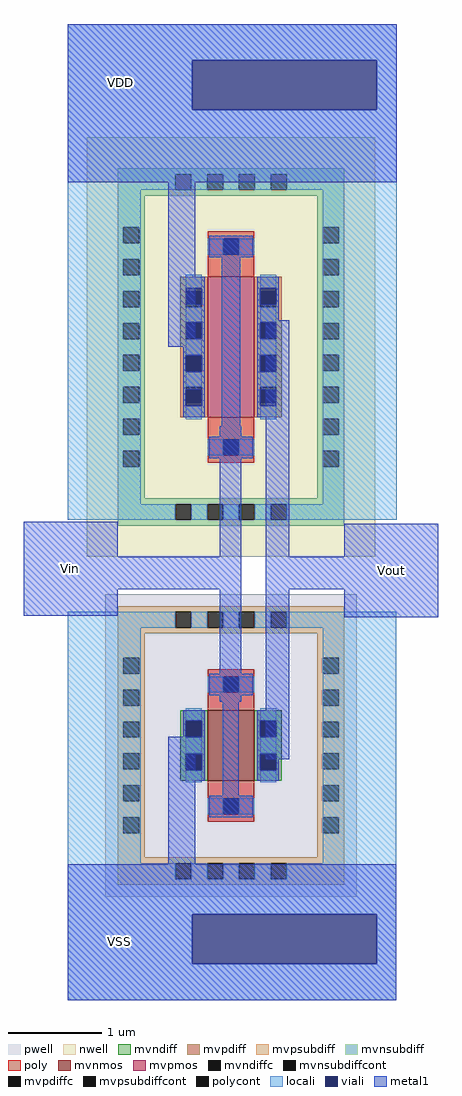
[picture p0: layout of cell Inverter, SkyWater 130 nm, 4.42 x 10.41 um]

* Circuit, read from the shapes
.subckt Inverter VDD Vin Vout VSS
XM1 Vout Vin VSS VSS sky130_fd_pr__nfet_g5v0d10v5 w=0.75 l=0.5
XM2 Vout Vin VDD VDD sky130_fd_pr__pfet_g5v0d10v5 w=1.5 l=0.5
.ends

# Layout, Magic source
magic
tech sky130B
magscale 1 2
<< locali >>
rect 990 1561 1692 1638
rect 990 1455 1255 1561
rect 1649 1455 1692 1561
rect 990 1286 1692 1455
rect 990 584 1146 1286
rect 1534 584 1692 1286
rect 990 580 1112 584
rect 1568 580 1692 584
rect 990 382 1108 384
rect 1568 382 1690 384
rect 990 -186 1146 382
rect 1534 -186 1690 382
rect 990 -261 1690 -186
rect 990 -367 1255 -261
rect 1649 -367 1690 -261
rect 990 -444 1690 -367
<< viali >>
rect 1255 1455 1649 1561
rect 1255 -367 1649 -261
<< metal1 >>
rect 990 1561 1692 1638
rect 990 1455 1255 1561
rect 1649 1455 1692 1561
rect 990 1300 1692 1455
rect 1204 950 1262 1300
rect 1318 780 1358 1178
rect 1438 1004 1462 1006
rect 896 502 1096 576
rect 1314 502 1360 780
rect 896 432 1360 502
rect 896 376 1096 432
rect 1314 192 1360 432
rect 1412 502 1462 1004
rect 1580 502 1780 572
rect 1412 432 1780 502
rect 1204 -154 1262 118
rect 1320 -48 1354 192
rect 1412 70 1462 432
rect 1580 372 1780 432
rect 990 -261 1690 -154
rect 990 -367 1255 -261
rect 1649 -367 1690 -261
rect 990 -444 1690 -367
use sky130_fd_pr__nfet_g5v0d10v5_6XHARQ  XM1
transform 1 0 1338 0 1 99
box -268 -323 268 323
use sky130_fd_pr__pfet_g5v0d10v5_7EBZY6  XM2
transform 1 0 1338 0 1 949
box -308 -447 308 447
<< labels >>
flabel metal1 s 1002 1414 1202 1614 0 FreeSans 320 0 0 0 VDD
port 1 nsew
flabel metal1 s 896 376 1096 576 0 FreeSans 320 0 0 0 Vin
port 2 nsew
flabel metal1 s 1580 372 1780 572 0 FreeSans 320 0 0 0 Vout
port 3 nsew
flabel metal1 s 1000 -420 1200 -220 0 FreeSans 320 0 0 0 VSS
port 4 nsew
<< end >>

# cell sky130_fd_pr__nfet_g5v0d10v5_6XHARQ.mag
magic
tech sky130B
magscale 1 2
<< pwell >>
rect -268 -323 268 323
<< mvnmos >>
rect -50 -75 50 75
<< mvndiff >>
rect -108 51 -50 75
rect -108 17 -96 51
rect -62 17 -50 51
rect -108 -17 -50 17
rect -108 -51 -96 -17
rect -62 -51 -50 -17
rect -108 -75 -50 -51
rect 50 51 108 75
rect 50 17 62 51
rect 96 17 108 51
rect 50 -17 108 17
rect 50 -51 62 -17
rect 96 -51 108 -17
rect 50 -75 108 -51
<< mvndiffc >>
rect -96 17 -62 51
rect -96 -51 -62 -17
rect 62 17 96 51
rect 62 -51 96 -17
<< mvpsubdiff >>
rect -242 285 242 297
rect -242 251 -119 285
rect -85 251 -51 285
rect -17 251 17 285
rect 51 251 85 285
rect 119 251 242 285
rect -242 239 242 251
rect -242 187 -184 239
rect -242 153 -230 187
rect -196 153 -184 187
rect 184 187 242 239
rect -242 119 -184 153
rect -242 85 -230 119
rect -196 85 -184 119
rect -242 51 -184 85
rect 184 153 196 187
rect 230 153 242 187
rect 184 119 242 153
rect 184 85 196 119
rect 230 85 242 119
rect -242 17 -230 51
rect -196 17 -184 51
rect -242 -17 -184 17
rect -242 -51 -230 -17
rect -196 -51 -184 -17
rect -242 -85 -184 -51
rect 184 51 242 85
rect 184 17 196 51
rect 230 17 242 51
rect 184 -17 242 17
rect 184 -51 196 -17
rect 230 -51 242 -17
rect -242 -119 -230 -85
rect -196 -119 -184 -85
rect -242 -153 -184 -119
rect -242 -187 -230 -153
rect -196 -187 -184 -153
rect 184 -85 242 -51
rect 184 -119 196 -85
rect 230 -119 242 -85
rect 184 -153 242 -119
rect -242 -239 -184 -187
rect 184 -187 196 -153
rect 230 -187 242 -153
rect 184 -239 242 -187
rect -242 -251 242 -239
rect -242 -285 -119 -251
rect -85 -285 -51 -251
rect -17 -285 17 -251
rect 51 -285 85 -251
rect 119 -285 242 -251
rect -242 -297 242 -285
<< mvpsubdiffcont >>
rect -119 251 -85 285
rect -51 251 -17 285
rect 17 251 51 285
rect 85 251 119 285
rect -230 153 -196 187
rect -230 85 -196 119
rect 196 153 230 187
rect 196 85 230 119
rect -230 17 -196 51
rect -230 -51 -196 -17
rect 196 17 230 51
rect 196 -51 230 -17
rect -230 -119 -196 -85
rect -230 -187 -196 -153
rect 196 -119 230 -85
rect 196 -187 230 -153
rect -119 -285 -85 -251
rect -51 -285 -17 -251
rect 17 -285 51 -251
rect 85 -285 119 -251
<< poly >>
rect -50 147 50 163
rect -50 113 -17 147
rect 17 113 50 147
rect -50 75 50 113
rect -50 -113 50 -75
rect -50 -147 -17 -113
rect 17 -147 50 -113
rect -50 -163 50 -147
<< polycont >>
rect -17 113 17 147
rect -17 -147 17 -113
<< locali >>
rect -230 251 -119 285
rect -85 251 -51 285
rect -17 251 17 285
rect 51 251 85 285
rect 119 251 230 285
rect -230 187 -196 251
rect -230 119 -196 153
rect 196 187 230 251
rect -50 113 -17 147
rect 17 113 50 147
rect 196 119 230 153
rect -230 51 -196 85
rect -230 -17 -196 17
rect -230 -85 -196 -51
rect -96 53 -62 79
rect -96 -17 -62 17
rect -96 -79 -62 -53
rect 62 53 96 79
rect 62 -17 96 17
rect 62 -79 96 -53
rect 196 51 230 85
rect 196 -17 230 17
rect 196 -85 230 -51
rect -230 -153 -196 -119
rect -50 -147 -17 -113
rect 17 -147 50 -113
rect -230 -251 -196 -187
rect 196 -153 230 -119
rect 196 -251 230 -187
rect -230 -285 -119 -251
rect -85 -285 -51 -251
rect -17 -285 17 -251
rect 51 -285 85 -251
rect 119 -285 230 -251
<< viali >>
rect -17 113 17 147
rect -96 51 -62 53
rect -96 19 -62 51
rect -96 -51 -62 -19
rect -96 -53 -62 -51
rect 62 51 96 53
rect 62 19 96 51
rect 62 -51 96 -19
rect 62 -53 96 -51
rect -17 -147 17 -113
<< metal1 >>
rect -46 147 46 153
rect -46 113 -17 147
rect 17 113 46 147
rect -46 107 46 113
rect -102 53 -56 75
rect -102 19 -96 53
rect -62 19 -56 53
rect -102 -19 -56 19
rect -102 -53 -96 -19
rect -62 -53 -56 -19
rect -102 -75 -56 -53
rect 56 53 102 75
rect 56 19 62 53
rect 96 19 102 53
rect 56 -19 102 19
rect 56 -53 62 -19
rect 96 -53 102 -19
rect 56 -75 102 -53
rect -46 -113 46 -107
rect -46 -147 -17 -113
rect 17 -147 46 -113
rect -46 -153 46 -147
<< properties >>
string FIXED_BBOX -213 -268 213 268
<< end >>

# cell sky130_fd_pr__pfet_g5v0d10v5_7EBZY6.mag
magic
tech sky130B
magscale 1 2
<< nwell >>
rect -308 -447 308 447
<< mvpmos >>
rect -50 -150 50 150
<< mvpdiff >>
rect -108 119 -50 150
rect -108 85 -96 119
rect -62 85 -50 119
rect -108 51 -50 85
rect -108 17 -96 51
rect -62 17 -50 51
rect -108 -17 -50 17
rect -108 -51 -96 -17
rect -62 -51 -50 -17
rect -108 -85 -50 -51
rect -108 -119 -96 -85
rect -62 -119 -50 -85
rect -108 -150 -50 -119
rect 50 119 108 150
rect 50 85 62 119
rect 96 85 108 119
rect 50 51 108 85
rect 50 17 62 51
rect 96 17 108 51
rect 50 -17 108 17
rect 50 -51 62 -17
rect 96 -51 108 -17
rect 50 -85 108 -51
rect 50 -119 62 -85
rect 96 -119 108 -85
rect 50 -150 108 -119
<< mvpdiffc >>
rect -96 85 -62 119
rect -96 17 -62 51
rect -96 -51 -62 -17
rect -96 -119 -62 -85
rect 62 85 96 119
rect 62 17 96 51
rect 62 -51 96 -17
rect 62 -119 96 -85
<< mvnsubdiff >>
rect -242 369 242 381
rect -242 335 -119 369
rect -85 335 -51 369
rect -17 335 17 369
rect 51 335 85 369
rect 119 335 242 369
rect -242 323 242 335
rect -242 255 -184 323
rect -242 221 -230 255
rect -196 221 -184 255
rect 184 255 242 323
rect -242 187 -184 221
rect -242 153 -230 187
rect -196 153 -184 187
rect -242 119 -184 153
rect 184 221 196 255
rect 230 221 242 255
rect 184 187 242 221
rect 184 153 196 187
rect 230 153 242 187
rect -242 85 -230 119
rect -196 85 -184 119
rect -242 51 -184 85
rect -242 17 -230 51
rect -196 17 -184 51
rect -242 -17 -184 17
rect -242 -51 -230 -17
rect -196 -51 -184 -17
rect -242 -85 -184 -51
rect -242 -119 -230 -85
rect -196 -119 -184 -85
rect -242 -153 -184 -119
rect 184 119 242 153
rect 184 85 196 119
rect 230 85 242 119
rect 184 51 242 85
rect 184 17 196 51
rect 230 17 242 51
rect 184 -17 242 17
rect 184 -51 196 -17
rect 230 -51 242 -17
rect 184 -85 242 -51
rect 184 -119 196 -85
rect 230 -119 242 -85
rect -242 -187 -230 -153
rect -196 -187 -184 -153
rect -242 -221 -184 -187
rect -242 -255 -230 -221
rect -196 -255 -184 -221
rect 184 -153 242 -119
rect 184 -187 196 -153
rect 230 -187 242 -153
rect 184 -221 242 -187
rect -242 -323 -184 -255
rect 184 -255 196 -221
rect 230 -255 242 -221
rect 184 -323 242 -255
rect -242 -335 242 -323
rect -242 -369 -119 -335
rect -85 -369 -51 -335
rect -17 -369 17 -335
rect 51 -369 85 -335
rect 119 -369 242 -335
rect -242 -381 242 -369
<< mvnsubdiffcont >>
rect -119 335 -85 369
rect -51 335 -17 369
rect 17 335 51 369
rect 85 335 119 369
rect -230 221 -196 255
rect -230 153 -196 187
rect 196 221 230 255
rect 196 153 230 187
rect -230 85 -196 119
rect -230 17 -196 51
rect -230 -51 -196 -17
rect -230 -119 -196 -85
rect 196 85 230 119
rect 196 17 230 51
rect 196 -51 230 -17
rect 196 -119 230 -85
rect -230 -187 -196 -153
rect -230 -255 -196 -221
rect 196 -187 230 -153
rect 196 -255 230 -221
rect -119 -369 -85 -335
rect -51 -369 -17 -335
rect 17 -369 51 -335
rect 85 -369 119 -335
<< poly >>
rect -50 231 50 247
rect -50 197 -17 231
rect 17 197 50 231
rect -50 150 50 197
rect -50 -197 50 -150
rect -50 -231 -17 -197
rect 17 -231 50 -197
rect -50 -247 50 -231
<< polycont >>
rect -17 197 17 231
rect -17 -231 17 -197
<< locali >>
rect -230 335 -119 369
rect -85 335 -51 369
rect -17 335 17 369
rect 51 335 85 369
rect 119 335 230 369
rect -230 255 -196 335
rect 196 255 230 335
rect -230 187 -196 221
rect -50 197 -17 231
rect 17 197 50 231
rect 196 187 230 221
rect -230 119 -196 153
rect -230 51 -196 85
rect -230 -17 -196 17
rect -230 -85 -196 -51
rect -230 -153 -196 -119
rect -96 125 -62 154
rect -96 53 -62 85
rect -96 -17 -62 17
rect -96 -85 -62 -53
rect -96 -154 -62 -125
rect 62 125 96 154
rect 62 53 96 85
rect 62 -17 96 17
rect 62 -85 96 -53
rect 62 -154 96 -125
rect 196 119 230 153
rect 196 51 230 85
rect 196 -17 230 17
rect 196 -85 230 -51
rect 196 -153 230 -119
rect -230 -221 -196 -187
rect -50 -231 -17 -197
rect 17 -231 50 -197
rect 196 -221 230 -187
rect -230 -335 -196 -255
rect 196 -335 230 -255
rect -230 -369 -119 -335
rect -85 -369 -51 -335
rect -17 -369 17 -335
rect 51 -369 85 -335
rect 119 -369 230 -335
<< viali >>
rect -17 197 17 231
rect -96 119 -62 125
rect -96 91 -62 119
rect -96 51 -62 53
rect -96 19 -62 51
rect -96 -51 -62 -19
rect -96 -53 -62 -51
rect -96 -119 -62 -91
rect -96 -125 -62 -119
rect 62 119 96 125
rect 62 91 96 119
rect 62 51 96 53
rect 62 19 96 51
rect 62 -51 96 -19
rect 62 -53 96 -51
rect 62 -119 96 -91
rect 62 -125 96 -119
rect -17 -231 17 -197
<< metal1 >>
rect -46 231 46 237
rect -46 197 -17 231
rect 17 197 46 231
rect -46 191 46 197
rect -102 125 -56 150
rect -102 91 -96 125
rect -62 91 -56 125
rect -102 53 -56 91
rect -102 19 -96 53
rect -62 19 -56 53
rect -102 -19 -56 19
rect -102 -53 -96 -19
rect -62 -53 -56 -19
rect -102 -91 -56 -53
rect -102 -125 -96 -91
rect -62 -125 -56 -91
rect -102 -150 -56 -125
rect 56 125 102 150
rect 56 91 62 125
rect 96 91 102 125
rect 56 53 102 91
rect 56 19 62 53
rect 96 19 102 53
rect 56 -19 102 19
rect 56 -53 62 -19
rect 96 -53 102 -19
rect 56 -91 102 -53
rect 56 -125 62 -91
rect 96 -125 102 -91
rect 56 -150 102 -125
rect -46 -197 46 -191
rect -46 -231 -17 -197
rect 17 -231 46 -197
rect -46 -237 46 -231
<< properties >>
string FIXED_BBOX -213 -352 213 352
<< end >>
